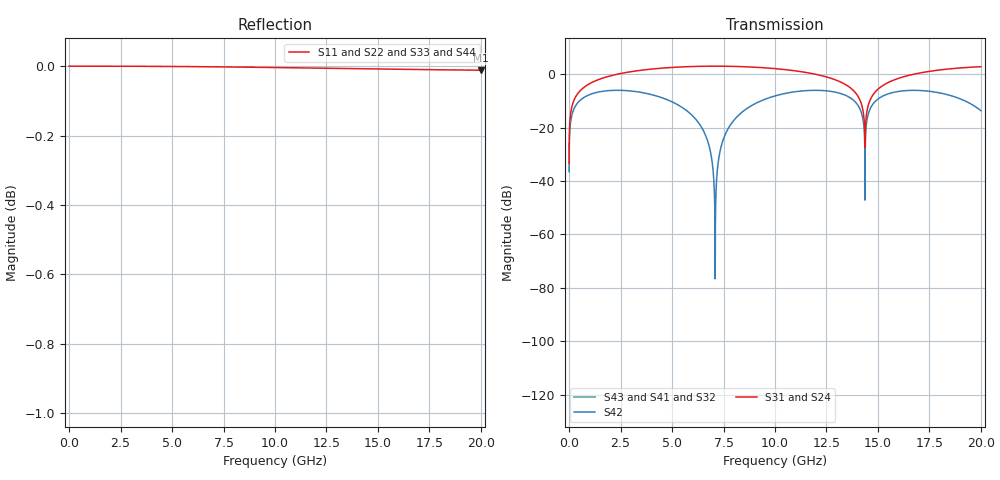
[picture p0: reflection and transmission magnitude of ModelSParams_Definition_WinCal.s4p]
# GHz S RI R 50
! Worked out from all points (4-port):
!   10001 points, 1 MHz to 20 GHz, reference 50 ohm
!   strongest paths, dB at 1 MHz, 5.001 GHz, 10 GHz, 15 GHz, 20 GHz:
!     S31: -33.5, 2.5, 2.1, -5.6, 2.8
!     S24: -33.5, 2.5, 2.1, -5.6, 2.8
!     S42: -36.5, -10.3, -8.1, -9.3, -13.7
!     S43: -, -, -, -, -
!     S41: -, -, -, -, -
!     S32: -, -, -, -, -
!   lowest |S11| = 0.0 dB at 20 GHz (marker M1)
!   |S11| at or under -10 dB: nowhere
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0.001  1 -0.000224  0 0  0.015 0.015  0 0
       0 0  1 -0.000224  0 0  0.015 0.015
       0.015 0.015  0 0  -1 0.000224  0 0
       0 0  0.015 0  0 0  -1 0.000224
0.729  0.9867 -0.1626  0 0  0.4348 0.369  0 0
       0 0  0.9867 -0.1626  0 0  0.4348 0.369
       0.4348 0.369  0 0  -0.9867 0.1626  0 0
       0 0  0.369 0  0 0  -0.9867 0.1626
4.251  0.5833 -0.8121  0 0  1.213 0.3905  0 0
       0 0  0.5833 -0.8121  0 0  1.213 0.3905
       1.213 0.3905  0 0  -0.5833 0.8121  0 0
       0 0  0.3905 0  0 0  -0.5833 0.8121
7.097  -0.000225 -0.9998  0 0  1.414 -0.000159  0 0
       0 0  -0.000225 -0.9998  0 0  1.414 -0.000159
       1.414 -0.000159  0 0  0.000225 0.9998  0 0
       0 0  -0.000159 0  0 0  0.000225 0.9998
8.127  -0.2213 -0.9749  0 0  1.388 -0.1555  0 0
       0 0  -0.2213 -0.9749  0 0  1.388 -0.1555
       1.388 -0.1555  0 0  0.2213 0.9749  0 0
       0 0  -0.1555 0  0 0  0.2213 0.9749
14.373  -0.9991 -0.000185  0 0  0.0421 -0.0044  0 0
        0 0  -0.9991 -0.000185  0 0  0.0421 -0.0044
        0.0421 -0.0044  0 0  0.9991 0.000185  0 0
        0 0  -0.0044 0  0 0  0.9991 0.000185
20.001  -0.2971 0.9535  0 0  1.365 0.2075  0 0
        0 0  -0.2971 0.9535  0 0  1.365 0.2075
        1.365 0.2075  0 0  0.2971 -0.9535  0 0
        0 0  0.2075 0  0 0  0.2971 -0.9535
